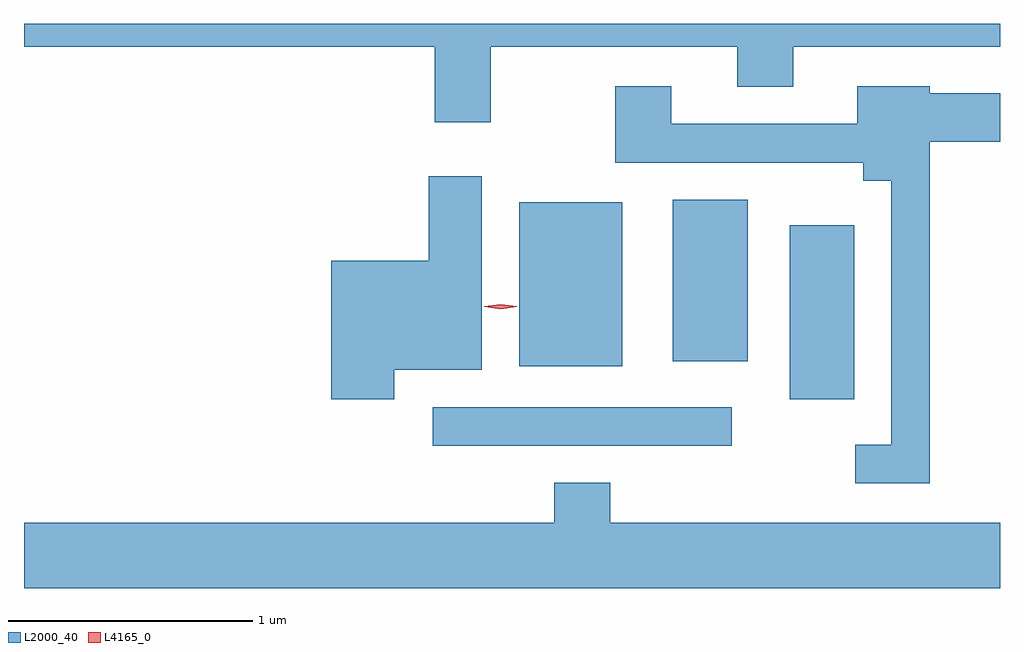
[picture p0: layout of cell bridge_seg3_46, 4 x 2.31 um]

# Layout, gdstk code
import gdstk
lib = gdstk.Library(unit=1e-6, precision=1e-09)
def R(c, l, rs):  # rectangles x0, y0, x1, y1
    for r in rs: c.add(gdstk.rectangle(r[:2], r[2:], *l))
def P(c, l, *ps):  # polygons
    for p in ps: c.add(gdstk.Polygon(p, *l))
L2000_40 = (2000, 40)
L4165_0 = (4165, 0)

bridge_seg3_46 = lib.new_cell('bridge_seg3_46')
R(bridge_seg3_46, L2000_40, [(1163.623,1157.681,1164.848,1157.839), (1165.086,1157.871,1165.349,1158.584), (1163.976,1158.006,1164.399,1158.679), (1164.606,1158.026,1164.914,1158.689)])
P(bridge_seg3_46, L2000_40, [(1163.859,1159.316),(1164.871,1159.316),(1164.871,1159.151),(1165.099,1159.151),(1165.099,1159.316),(1165.947,1159.316),(1165.947,1159.41),(1161.947,1159.41),(1161.947,1159.316),(1163.631,1159.316),(1163.631,1159.006),(1163.859,1159.006)],
  [(1165.659,1158.926),(1165.947,1158.926),(1165.947,1159.124),(1165.659,1159.124),(1165.659,1159.154),(1165.361,1159.154),(1165.361,1158.999),(1164.599,1158.999),(1164.599,1159.154),(1164.371,1159.154),(1164.371,1158.841),(1165.386,1158.841),(1165.386,1158.766),(1165.501,1158.766),(1165.501,1157.684),(1165.353,1157.684),(1165.353,1157.526),(1165.659,1157.526)],
  [(1163.464,1157.991),(1163.824,1157.991),(1163.824,1158.784),(1163.606,1158.784),(1163.606,1158.439),(1163.206,1158.439),(1163.206,1157.871),(1163.464,1157.871)],
  [(1165.947,1157.364),(1164.349,1157.364),(1164.349,1157.529),(1164.121,1157.529),(1164.121,1157.364),(1161.947,1157.364),(1161.947,1157.096),(1165.947,1157.096)])
P(bridge_seg3_46, L4165_0, [(1163.9,1158.24),(1163.833,1158.25),(1163.833,1158.25),(1163.833,1158.251),(1163.9,1158.26),(1163.966,1158.251),(1163.966,1158.25),(1163.966,1158.25)])

lib.write_gds('bridge_seg3_46.gds')
